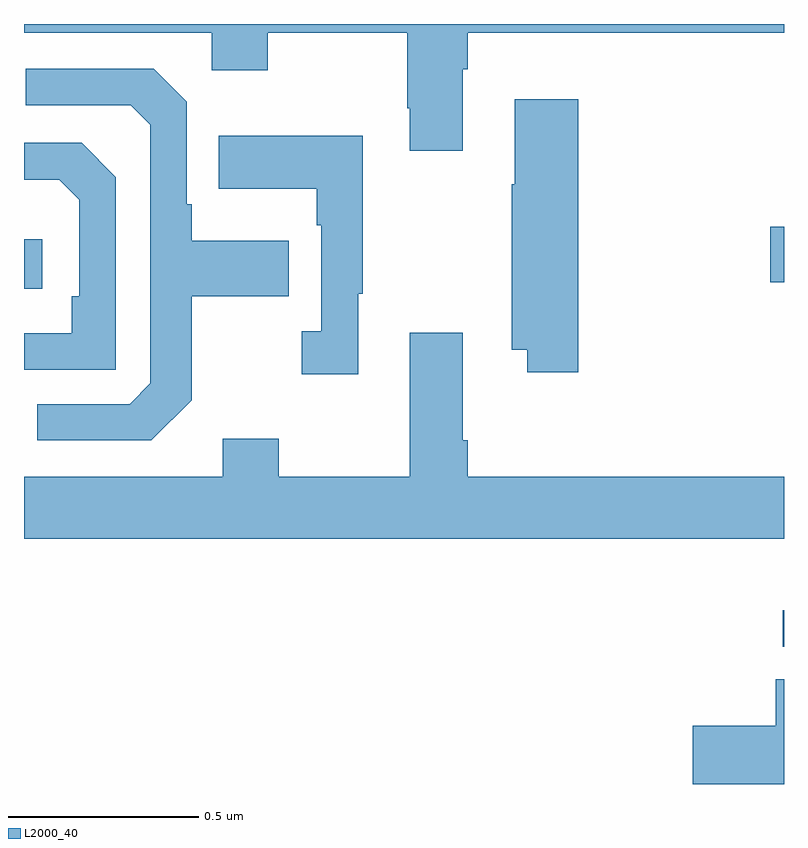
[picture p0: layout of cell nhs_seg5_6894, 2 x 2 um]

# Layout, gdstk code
import gdstk
lib = gdstk.Library(unit=1e-6, precision=1e-09)
def R(c, l, rs):  # rectangles x0, y0, x1, y1
    for r in rs: c.add(gdstk.rectangle(r[:2], r[2:], *l))
def P(c, l, *ps):  # polygons
    for p in ps: c.add(gdstk.Polygon(p, *l))
L2000_40 = (2000, 40)

nhs_seg5_6894 = lib.new_cell('nhs_seg5_6894')
R(nhs_seg5_6894, L2000_40, [(203.997,839.16,204,839.256), (202,840.102,202.048,840.232), (203.964,840.119,204,840.266)])
P(nhs_seg5_6894, L2000_40, [(203.155,840.68),(203.168,840.68),(203.168,840.776),(204,840.776),(204,840.799),(202,840.799),(202,840.776),(202.494,840.776),(202.494,840.677),(202.641,840.677),(202.641,840.776),(203.008,840.776),(203.008,840.577),(203.015,840.577),(203.015,840.465),(203.155,840.465)],
  [(202.441,839.809),(202.441,840.082),(202.697,840.082),(202.697,840.229),(202.441,840.229),(202.441,840.325),(202.428,840.325),(202.428,840.594),(202.341,840.681),(202.005,840.681),(202.005,840.585),(202.281,840.585),(202.332,840.534),(202.332,839.853),(202.278,839.799),(202.035,839.799),(202.035,839.703),(202.335,839.703)],
  [(203.459,840.601),(203.291,840.601),(203.291,840.377),(203.284,840.377),(203.284,839.942),(203.324,839.942),(203.324,839.883),(203.459,839.883)],
  [(202.879,840.089),(202.891,840.089),(202.891,840.505),(202.513,840.505),(202.513,840.365),(202.77,840.365),(202.77,840.269),(202.782,840.269),(202.782,839.99),(202.731,839.99),(202.731,839.877),(202.879,839.877)],
  [(202.242,840.396),(202.152,840.486),(202,840.486),(202,840.389),(202.093,840.389),(202.146,840.336),(202.146,840.082),(202.126,840.082),(202.126,839.985),(202,839.985),(202,839.889),(202.242,839.889)],
  [(204,839.608),(203.168,839.608),(203.168,839.704),(203.155,839.704),(203.155,839.986),(203.015,839.986),(203.015,839.608),(202.671,839.608),(202.671,839.707),(202.523,839.707),(202.523,839.608),(202,839.608),(202,839.444),(204,839.444)],
  [(204,839.075),(203.978,839.075),(203.978,838.952),(203.76,838.952),(203.76,838.799),(204,838.799)])

lib.write_gds('nhs_seg5_6894.gds')
